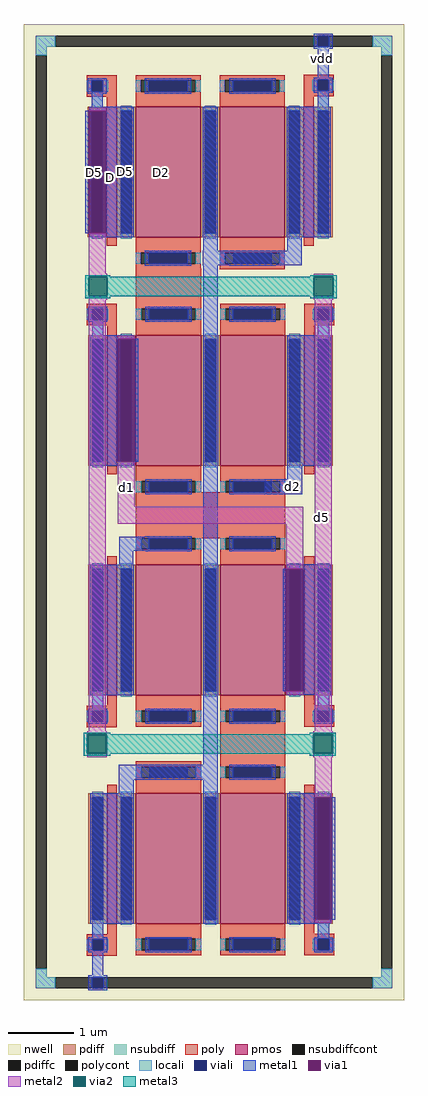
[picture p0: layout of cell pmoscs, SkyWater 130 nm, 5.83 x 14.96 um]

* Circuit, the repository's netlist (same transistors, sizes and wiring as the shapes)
** sch_path: /home/afgar/opamp/mag/pmoscs.sch
.subckt pmoscs VDD D5 D1 D2
*.PININFO VDD:B D5:B D1:B D2:B
XM1 D1 D2 VDD VDD sky130_fd_pr__pfet_01v8 L=1 W=2 nf=1 m=2
XM6 D2 D2 VDD VDD sky130_fd_pr__pfet_01v8 L=1 W=2 nf=1 m=2
XM9 D5 D2 VDD VDD sky130_fd_pr__pfet_01v8 L=1 W=2 nf=1 m=2
XM2 VDD VDD VDD VDD sky130_fd_pr__pfet_01v8 L=1 W=2 nf=1 m=2
XM3 VDD VDD VDD VDD sky130_fd_pr__pfet_01v8 L=0.15 W=2 nf=1 m=2
XM4 D2 D2 D2 VDD sky130_fd_pr__pfet_01v8 L=0.15 W=2 nf=1 m=2
XM5 D1 D1 D1 VDD sky130_fd_pr__pfet_01v8 L=0.15 W=2 nf=1 m=2
XM7 D5 D5 D5 VDD sky130_fd_pr__pfet_01v8 L=0.15 W=2 nf=1 m=2
.ends
.end

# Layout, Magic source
magic
tech sky130A
magscale 1 2
<< nwell >>
rect -249 -833 916 2158
<< nsubdiff >>
rect -213 2088 -153 2122
rect 820 2088 880 2122
rect -213 2062 -179 2088
rect 846 2062 880 2088
rect -213 -763 -179 -737
rect 846 -763 880 -737
rect -213 -797 -153 -763
rect 820 -797 880 -763
<< nsubdiffcont >>
rect -153 2088 820 2122
rect -213 -737 -179 2062
rect 846 -737 880 2062
rect -153 -797 820 -763
<< poly >>
rect -57 1985 35 2001
rect -57 1951 -41 1985
rect -7 1951 35 1985
rect -57 1935 35 1951
rect 5 1903 35 1935
rect 609 1987 701 2003
rect 609 1953 651 1987
rect 685 1953 701 1987
rect 609 1937 701 1953
rect 609 1927 639 1937
rect 93 1301 294 1408
rect -56 1285 36 1301
rect -56 1251 -40 1285
rect -6 1251 36 1285
rect -56 1235 36 1251
rect 6 1203 36 1235
rect 610 1285 702 1301
rect 610 1251 652 1285
rect 686 1251 702 1285
rect 610 1235 702 1251
rect 610 1203 640 1235
rect 272 708 552 723
rect 93 598 552 708
rect 272 582 552 598
rect 6 69 36 101
rect -56 53 36 69
rect -56 19 -40 53
rect -6 19 36 53
rect -56 3 36 19
rect 610 70 640 102
rect 610 54 702 70
rect 610 20 652 54
rect 686 20 702 54
rect 352 -102 552 5
rect 610 4 702 20
rect 6 -631 36 -599
rect -56 -647 36 -631
rect -56 -681 -40 -647
rect -6 -681 36 -647
rect -56 -697 36 -681
rect 610 -630 640 -598
rect 610 -646 702 -630
rect 610 -680 652 -646
rect 686 -680 702 -646
rect 610 -696 702 -680
<< polycont >>
rect -41 1951 -7 1985
rect 651 1953 685 1987
rect -40 1251 -6 1285
rect 652 1251 686 1285
rect -40 19 -6 53
rect 652 20 686 54
rect -40 -681 -6 -647
rect 652 -680 686 -646
<< locali >>
rect -213 2088 -153 2122
rect 820 2088 880 2122
rect -213 2062 -179 2088
rect 846 2062 880 2088
rect -57 1951 -41 1985
rect -7 1951 9 1985
rect 635 1953 651 1987
rect 685 1953 701 1987
rect -41 1903 -7 1951
rect 651 1899 685 1953
rect -56 1251 -40 1285
rect -6 1251 10 1285
rect 636 1251 652 1285
rect 686 1251 702 1285
rect -40 1203 -6 1251
rect 652 1203 686 1251
rect -40 53 -6 101
rect 652 54 686 102
rect -56 19 -40 53
rect -6 19 10 53
rect 636 20 652 54
rect 686 20 702 54
rect -40 -647 -6 -599
rect 652 -646 686 -598
rect -56 -681 -40 -647
rect -6 -681 10 -647
rect 636 -680 652 -646
rect 686 -680 702 -646
rect -213 -763 -179 -737
rect 846 -763 880 -737
rect -213 -797 -153 -763
rect 820 -797 880 -763
<< viali >>
rect 651 2088 685 2122
rect -41 1951 -7 1985
rect 651 1953 685 1987
rect -40 1251 -6 1285
rect 652 1251 686 1285
rect -40 19 -6 53
rect 652 20 686 54
rect -40 -681 -6 -647
rect 652 -680 686 -646
rect -40 -797 -6 -763
<< metal1 >>
rect 639 2122 697 2128
rect 639 2088 651 2122
rect 685 2088 697 2122
rect 639 2082 697 2088
rect 651 1993 685 2082
rect -53 1985 5 1991
rect -53 1951 -41 1985
rect -7 1951 5 1985
rect -53 1945 5 1951
rect 639 1987 697 1993
rect 639 1953 651 1987
rect 685 1953 697 1987
rect 639 1947 697 1953
rect -41 1904 -7 1945
rect 651 1904 685 1947
rect -46 1892 87 1904
rect -61 1516 -51 1892
rect 2 1516 87 1892
rect -46 1504 87 1516
rect 300 1463 345 1904
rect 558 1504 691 1904
rect 558 1463 603 1504
rect 299 1418 603 1463
rect -52 1285 6 1291
rect -52 1251 -40 1285
rect -6 1251 6 1285
rect -52 1245 6 1251
rect -40 1204 -6 1245
rect -45 1193 88 1204
rect -45 817 39 1193
rect 91 817 101 1193
rect -45 804 88 817
rect 43 543 135 586
rect 43 501 86 543
rect -46 101 87 501
rect -40 59 -6 101
rect -52 53 6 59
rect -52 19 -40 53
rect -6 19 6 53
rect -52 13 6 19
rect 300 -112 345 1418
rect 640 1285 698 1291
rect 640 1251 652 1285
rect 686 1251 698 1285
rect 640 1245 698 1251
rect 652 1204 686 1245
rect 558 804 691 1204
rect 558 763 604 804
rect 489 717 604 763
rect 556 489 689 502
rect 545 113 555 489
rect 607 113 689 489
rect 556 102 689 113
rect 652 60 686 102
rect 640 54 698 60
rect 640 20 652 54
rect 686 20 698 54
rect 640 14 698 20
rect 42 -158 345 -112
rect 42 -199 88 -158
rect -46 -599 88 -199
rect 300 -599 345 -158
rect 558 -211 691 -199
rect 558 -587 643 -211
rect 695 -587 705 -211
rect 558 -599 691 -587
rect -40 -641 -6 -599
rect 652 -640 686 -599
rect -52 -647 6 -641
rect -52 -681 -40 -647
rect -6 -681 6 -647
rect -52 -687 6 -681
rect 640 -646 698 -640
rect 640 -680 652 -646
rect 686 -680 698 -646
rect 640 -686 698 -680
rect -40 -757 -6 -687
rect -52 -763 6 -757
rect -52 -797 -40 -763
rect -6 -797 6 -763
rect -52 -803 6 -797
<< via1 >>
rect -51 1516 2 1892
rect 39 817 91 1193
rect 555 113 607 489
rect 643 -587 695 -211
<< metal2 >>
rect -51 1892 2 1902
rect -51 1506 2 1516
rect -51 1393 1 1506
rect -51 1383 6 1393
rect -51 1313 6 1323
rect 639 1383 699 1393
rect 639 1313 699 1323
rect -51 -9 1 1313
rect 39 1193 91 1203
rect 39 678 91 817
rect 39 626 607 678
rect 555 489 607 626
rect 555 103 607 113
rect 643 -9 695 1313
rect -55 -19 5 -9
rect -55 -89 5 -79
rect 637 -19 697 -9
rect 637 -89 697 -79
rect 643 -211 695 -89
rect 643 -597 695 -587
<< via2 >>
rect -51 1323 6 1383
rect 639 1323 699 1383
rect -55 -79 5 -19
rect 637 -79 697 -19
<< metal3 >>
rect -61 1383 16 1388
rect 629 1383 709 1388
rect -61 1323 -51 1383
rect 6 1323 639 1383
rect 699 1323 709 1383
rect -61 1318 16 1323
rect 629 1318 709 1323
rect -65 -19 15 -14
rect 627 -19 707 -14
rect -65 -79 -55 -19
rect 5 -79 637 -19
rect 697 -79 707 -19
rect -65 -84 15 -79
rect 627 -84 707 -79
use sky130_fd_pr__pfet_01v8_2ZH9AN  sky130_fd_pr__pfet_01v8_2ZH9AN_0
transform 1 0 21 0 1 1004
box -109 -262 109 262
use sky130_fd_pr__pfet_01v8_2ZH9AN  sky130_fd_pr__pfet_01v8_2ZH9AN_1
transform 1 0 21 0 1 -399
box -109 -262 109 262
use sky130_fd_pr__pfet_01v8_2ZH9AN  sky130_fd_pr__pfet_01v8_2ZH9AN_2
transform 1 0 625 0 1 -399
box -109 -262 109 262
use sky130_fd_pr__pfet_01v8_2ZH9AN  sky130_fd_pr__pfet_01v8_2ZH9AN_3
transform 1 0 21 0 1 301
box -109 -262 109 262
use sky130_fd_pr__pfet_01v8_2ZH9AN  sky130_fd_pr__pfet_01v8_2ZH9AN_4
transform 1 0 625 0 1 301
box -109 -262 109 262
use sky130_fd_pr__pfet_01v8_2ZH9AN  sky130_fd_pr__pfet_01v8_2ZH9AN_5
transform 1 0 20 0 1 1704
box -109 -262 109 262
use sky130_fd_pr__pfet_01v8_2ZH9AN  sky130_fd_pr__pfet_01v8_2ZH9AN_6
transform 1 0 624 0 1 1704
box -109 -262 109 262
use sky130_fd_pr__pfet_01v8_2ZH9AN  sky130_fd_pr__pfet_01v8_2ZH9AN_7
transform 1 0 625 0 1 1004
box -109 -262 109 262
use sky130_fd_pr__pfet_01v8_SDE6B7  sky130_fd_pr__pfet_01v8_SDE6B7_0
transform 1 0 322 0 1 1704
box -323 -300 323 300
use sky130_fd_pr__pfet_01v8_SDE6B7  sky130_fd_pr__pfet_01v8_SDE6B7_1
transform 1 0 323 0 1 301
box -323 -300 323 300
use sky130_fd_pr__pfet_01v8_SDE6B7  sky130_fd_pr__pfet_01v8_SDE6B7_2
transform 1 0 323 0 1 -399
box -323 -300 323 300
use sky130_fd_pr__pfet_01v8_SDE6B7  sky130_fd_pr__pfet_01v8_SDE6B7_3
transform 1 0 323 0 1 1004
box -323 -300 323 300
<< labels >>
flabel nwell 173 1703 173 1703 0 FreeSans 160 0 0 0 D2
flabel nwell 63 1705 63 1705 0 FreeSans 160 0 0 0 D5
flabel nwell 16 1688 16 1688 0 FreeSans 160 0 0 0 D
flabel nwell -34 1704 -34 1704 0 FreeSans 160 0 0 0 D5
flabel metal1 665 2051 665 2051 0 FreeSans 320 0 0 0 vdd
port 1 nsew
flabel metal2 64 737 64 737 0 FreeSans 320 0 0 0 d1
port 2 nsew
flabel metal1 574 740 574 740 0 FreeSans 320 0 0 0 d2
port 3 nsew
flabel metal2 663 645 663 645 0 FreeSans 320 0 0 0 d5
port 5 nsew
<< end >>

# cell sky130_fd_pr__pfet_01v8_2ZH9AN: kit device sky130_fd_pr__pfet_01v8, w 2 l 0.15 m 1 nf 1 diffcov 100 polycov 100 guard 0 glc 1 grc 1 gtc 1 gbc 1 tbcov 100 rlcov 100 topc 0 botc 0 poverlap 0 doverlap 1 lmin 0.15 wmin 0.42 compatible {sky130_fd_pr__pfet_01v8 sky130_fd_pr__pfet_01v8_lvt sky130_fd_pr__pfet_01v8_hvt sky130_fd_pr__pfet_g5v0d10v5} full_metal 1 viasrc 100 viadrn 100 viagate 100 viagb 0 viagr 0 viagl 0 viagt 0

# cell sky130_fd_pr__pfet_01v8_SDE6B7: kit device sky130_fd_pr__pfet_01v8, w 2 l 1 m 1 nf 2 diffcov 100 polycov 100 guard 0 glc 1 grc 1 gtc 1 gbc 1 tbcov 100 rlcov 100 topc 1 botc 1 poverlap 0 doverlap 1 lmin 0.15 wmin 0.42 compatible {sky130_fd_pr__pfet_01v8 sky130_fd_pr__pfet_01v8_lvt sky130_fd_pr__pfet_01v8_hvt sky130_fd_pr__pfet_g5v0d10v5} full_metal 1 viasrc 100 viadrn 100 viagate 70 viagb 0 viagr 0 viagl 0 viagt 0
